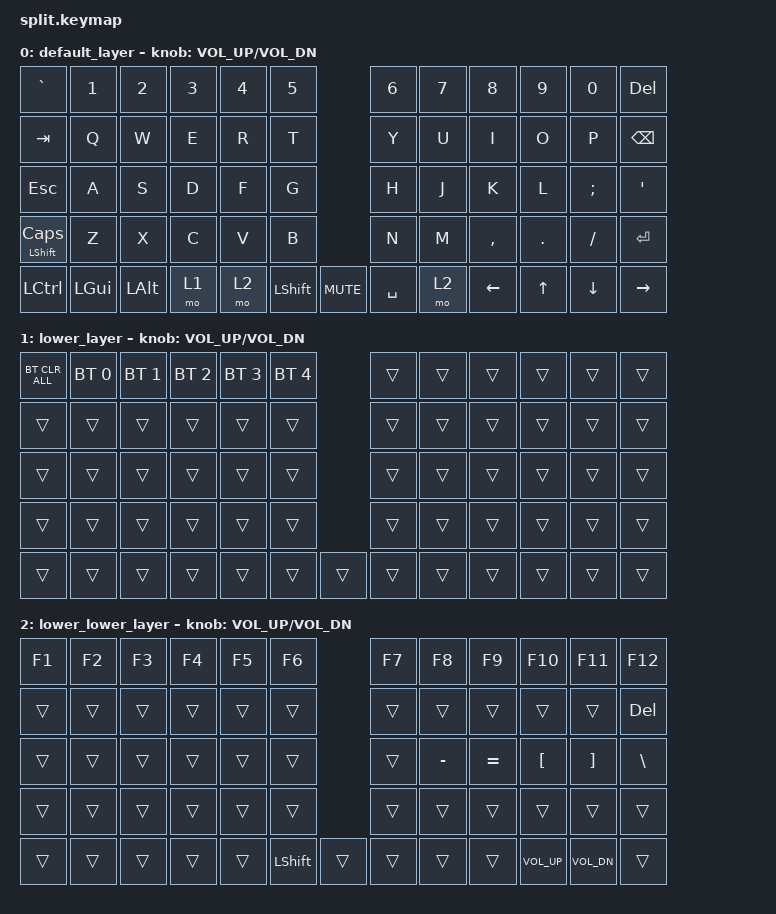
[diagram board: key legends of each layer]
/*
 * Copyright (c) 2020 The ZMK Contributors
 *
 * SPDX-License-Identifier: MIT
 */

#include <behaviors.dtsi>
#include <dt-bindings/zmk/keys.h>
#include <dt-bindings/zmk/bt.h>



/ {
    keymap {
        compatible = "zmk,keymap";

        default_layer {

            bindings = <
&kp GRAVE       &kp N1      &kp N2      &kp N3      &kp N4      &kp N5                          &kp N6     &kp N7      &kp N8    &kp N9    &kp N0      &kp DEL
&kp TAB         &kp Q       &kp W       &kp E       &kp R       &kp T                           &kp Y      &kp U       &kp I     &kp O     &kp P       &kp BSPC
&kp ESC         &kp A       &kp S       &kp D       &kp F       &kp G                           &kp H      &kp J       &kp K     &kp L     &kp SEMI    &kp SQT
&mt LSHFT CAPS  &kp Z       &kp X       &kp C       &kp V       &kp B                           &kp N      &kp M       &kp COMMA &kp DOT   &kp FSLH    &kp ENTER
&kp LCTRL       &kp LGUI    &kp LALT    &mo 1       &mo 2       &kp LSHFT    &kp C_MUTE         &kp SPACE  &mo 2       &kp LEFT  &kp UP    &kp DOWN    &kp RIGHT

            >;
            sensor-bindings = <&inc_dec_kp C_VOL_UP C_VOL_DN>;
        };

        lower_layer {
            bindings = <
&bt BT_CLR_ALL &bt BT_SEL 0 &bt BT_SEL 1 &bt BT_SEL 2 &bt BT_SEL 3 &bt BT_SEL 4       &trans      &trans      &trans      &trans      &trans      &trans
&trans      &trans      &trans      &trans      &trans      &trans                    &trans      &trans      &trans      &trans      &trans      &trans
&trans      &trans      &trans      &trans      &trans      &trans                    &trans      &trans      &trans      &trans      &trans      &trans
&trans      &trans      &trans      &trans      &trans      &trans                    &trans      &trans      &trans      &trans      &trans      &trans  
&trans      &trans      &trans      &trans      &trans      &trans  &trans            &trans      &trans      &trans      &trans      &trans      &trans
            >;
            sensor-bindings = <&inc_dec_kp C_VOL_UP C_VOL_DN>;
        };

        lower_lower_layer {
                        bindings = <
&kp F1      &kp F2      &kp F3      &kp F4      &kp F5      &kp F6                      &kp F7      &kp F8      &kp F9      &kp F10     &kp F11    &kp F12
&trans      &trans      &trans      &trans      &trans      &trans                      &trans      &trans      &trans      &trans      &trans      &kp DEL
&trans      &trans      &trans      &trans      &trans      &trans                      &trans      &kp MINUS   &kp EQUAL   &kp LBKT    &kp RBKT    &kp BSLH
&trans      &trans      &trans      &trans      &trans      &trans                      &trans      &trans      &trans      &trans      &trans      &trans  
&trans      &trans      &trans      &trans      &trans      &kp LSHFT   &trans          &trans      &trans      &trans      &kp C_VOL_UP      &kp C_VOL_DN      &trans
            >;
            sensor-bindings = <&inc_dec_kp C_VOL_UP C_VOL_DN>;
        };
    };
};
